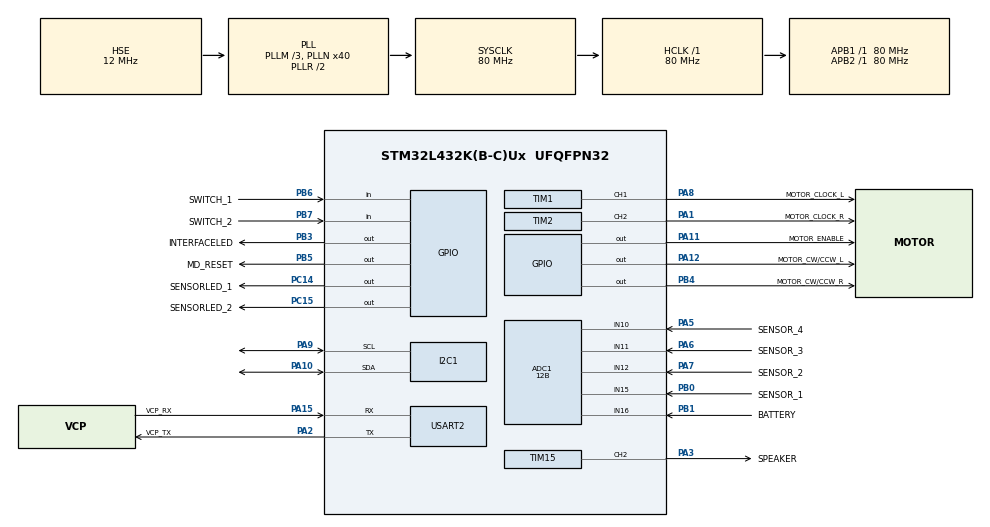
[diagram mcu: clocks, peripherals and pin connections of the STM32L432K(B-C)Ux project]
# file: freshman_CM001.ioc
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ADC1.Channel-1\#ChannelRegularConversion=ADC_CHANNEL_16
ADC1.Channel-6\#ChannelRegularConversion=ADC_CHANNEL_15
ADC1.Channel-7\#ChannelRegularConversion=ADC_CHANNEL_12
ADC1.Channel-8\#ChannelRegularConversion=ADC_CHANNEL_11
ADC1.Channel-9\#ChannelRegularConversion=ADC_CHANNEL_10
ADC1.ClockPrescaler=ADC_CLOCK_ASYNC_DIV4
ADC1.ContinuousConvMode=ENABLE
ADC1.NbrOfConversion=5
ADC1.NbrOfConversionFlag=1
ADC1.OffsetNumber-1\#ChannelRegularConversion=ADC_OFFSET_NONE
ADC1.OffsetNumber-6\#ChannelRegularConversion=ADC_OFFSET_NONE
ADC1.OffsetNumber-7\#ChannelRegularConversion=ADC_OFFSET_NONE
ADC1.OffsetNumber-8\#ChannelRegularConversion=ADC_OFFSET_NONE
ADC1.OffsetNumber-9\#ChannelRegularConversion=ADC_OFFSET_NONE
ADC1.Rank-1\#ChannelRegularConversion=1
ADC1.Rank-6\#ChannelRegularConversion=2
ADC1.Rank-7\#ChannelRegularConversion=3
ADC1.Rank-8\#ChannelRegularConversion=4
ADC1.Rank-9\#ChannelRegularConversion=5
ADC1.Resolution=ADC_RESOLUTION_12B
ADC1.SamplingTime-1\#ChannelRegularConversion=ADC_SAMPLETIME_12CYCLES_5
ADC1.SamplingTime-6\#ChannelRegularConversion=ADC_SAMPLETIME_12CYCLES_5
ADC1.SamplingTime-7\#ChannelRegularConversion=ADC_SAMPLETIME_12CYCLES_5
ADC1.SamplingTime-8\#ChannelRegularConversion=ADC_SAMPLETIME_12CYCLES_5
ADC1.SamplingTime-9\#ChannelRegularConversion=ADC_SAMPLETIME_12CYCLES_5
ADC1.master=1
Dma.ADC1.0.Direction=DMA_PERIPH_TO_MEMORY
Dma.ADC1.0.Instance=DMA1_Channel1
Dma.ADC1.0.MemDataAlignment=DMA_MDATAALIGN_HALFWORD
Dma.ADC1.0.MemInc=DMA_MINC_ENABLE
Dma.ADC1.0.Mode=DMA_NORMAL
Dma.ADC1.0.PeriphDataAlignment=DMA_PDATAALIGN_HALFWORD
Dma.ADC1.0.PeriphInc=DMA_PINC_DISABLE
Dma.ADC1.0.Priority=DMA_PRIORITY_LOW
Dma.Request0=ADC1
I2C1.Timing=0x10909CEC
Mcu.Family=STM32L4
Mcu.Name=STM32L432K(B-C)Ux
Mcu.Package=UFQFPN32
NVIC.ADC1_IRQn=true\:0\:0\:false\:false\:true\:true\:true\:true
NVIC.DMA1_Channel1_IRQn=true\:0\:0\:false\:false\:true\:false\:true\:true
NVIC.PriorityGroup=NVIC_PRIORITYGROUP_4
NVIC.TIM6_DAC_IRQn=true\:0\:0\:false\:false\:true\:true\:true\:true
PA0.GPIO_Label=MCO
PA0.Mode=HSE-External-Clock-Source-for-LittleOrca
PA0.Signal=RCC_CK_IN
PA1.GPIO_Label=MOTOR_CLOCK_R
PA1.Signal=S_TIM2_CH2
PA10.GPIO_Pu=GPIO_PULLUP
PA10.Mode=I2C
PA10.Signal=I2C1_SDA
PA11.GPIO_Label=MOTOR_ENABLE
PA11.Signal=GPIO_Output
PA12.GPIO_Label=MOTOR_CW/CCW_L
PA12.Signal=GPIO_Output
PA13\ (JTMS-SWDIO).GPIO_Label=SWDIO
PA13\ (JTMS-SWDIO).Mode=Serial_Wire
PA13\ (JTMS-SWDIO).Signal=SYS_JTMS-SWDIO
PA14\ (JTCK-SWCLK).GPIO_Label=SWCLK
PA14\ (JTCK-SWCLK).Mode=Serial_Wire
PA14\ (JTCK-SWCLK).Signal=SYS_JTCK-SWCLK
PA15\ (JTDI).GPIO_Label=VCP_RX
PA15\ (JTDI).Mode=Asynchronous
PA15\ (JTDI).Signal=USART2_RX
PA2.GPIO_Label=VCP_TX
PA2.Mode=Asynchronous
PA2.Signal=USART2_TX
PA3.GPIO_Label=SPEAKER
PA3.Signal=S_TIM15_CH2
PA5.GPIO_Label=SENSOR_4
PA5.Signal=ADCx_IN10
PA6.GPIO_Label=SENSOR_3
PA6.Signal=ADCx_IN11
PA7.GPIO_Label=SENSOR_2
PA7.Signal=ADCx_IN12
PA8.GPIO_Label=MOTOR_CLOCK_L
PA8.Signal=S_TIM1_CH1
PA9.GPIO_Pu=GPIO_PULLUP
PA9.Mode=I2C
PA9.Signal=I2C1_SCL
PB0.GPIO_Label=SENSOR_1
PB0.Signal=ADCx_IN15
PB1.GPIO_Label=BATTERY
PB1.Signal=ADCx_IN16
PB3\ (JTDO-TRACESWO).GPIO_Label=INTERFACELED
PB3\ (JTDO-TRACESWO).Signal=GPIO_Output
PB4\ (NJTRST).GPIO_Label=MOTOR_CW/CCW_R
PB4\ (NJTRST).Signal=GPIO_Output
PB5.GPIO_Label=MD_RESET
PB5.Signal=GPIO_Output
PB6.GPIO_Label=SWITCH_1
PB6.GPIO_PuPd=GPIO_PULLUP
PB6.Signal=GPIO_Input
PB7.GPIO_Label=SWITCH_2
PB7.GPIO_PuPd=GPIO_PULLUP
PB7.Signal=GPIO_Input
PC14-OSC32_IN\ (PC14).GPIO_Label=SENSORLED_1
PC14-OSC32_IN\ (PC14).Signal=GPIO_Output
PC15-OSC32_OUT\ (PC15).GPIO_Label=SENSORLED_2
PC15-OSC32_OUT\ (PC15).Signal=GPIO_Output
ProjectManager.HeapSize=0x200
ProjectManager.StackSize=0x400
ProjectManager.TargetToolchain=STM32CubeIDE
RCC.ADCFreq_Value=32000000
RCC.AHBFreq_Value=80000000
RCC.APB1Freq_Value=80000000
RCC.APB1TimFreq_Value=80000000
RCC.APB2Freq_Value=80000000
RCC.APB2TimFreq_Value=80000000
RCC.CortexFreq_Value=80000000
RCC.HCLKFreq_Value=80000000
RCC.HSE_VALUE=12000000
RCC.HSI16_VALUE=16000000
RCC.HSI48_VALUE=48000000
RCC.HSI_VALUE=16000000
RCC.LSE_VALUE=32768
RCC.MSI_VALUE=4000000
RCC.PLLM=3
RCC.PLLMUL=RCC_PLLMUL_4
RCC.PLLN=40
RCC.PLLSAI1N=16
RCC.PLLSourceVirtual=RCC_PLLSOURCE_HSE
RCC.SYSCLKFreq_VALUE=80000000
RCC.SYSCLKSource=RCC_SYSCLKSOURCE_PLLCLK
RCC.USBFreq_Value=32000000
RCC.VCOOutputFreq_Value=160000000
SH.ADCx_IN10.0=ADC1_IN10,IN10-Single-Ended
SH.ADCx_IN11.0=ADC1_IN11,IN11-Single-Ended
SH.ADCx_IN12.0=ADC1_IN12,IN12-Single-Ended
SH.ADCx_IN15.0=ADC1_IN15,IN15-Single-Ended
SH.ADCx_IN16.0=ADC1_IN16,IN16-Single-Ended
SH.S_TIM15_CH2.0=TIM15_CH2,PWM Generation2 CH2
SH.S_TIM1_CH1.0=TIM1_CH1,PWM Generation1 CH1
SH.S_TIM2_CH2.0=TIM2_CH2,PWM Generation2 CH2
TIM1.Channel-PWM\ Generation1\ CH1=TIM_CHANNEL_1
TIM1.Period=10000-1
TIM1.Prescaler=8-1
TIM1.Pulse-PWM\ Generation1\ CH1=5000-1
TIM15.Channel-PWM\ Generation2\ CH2=TIM_CHANNEL_2
TIM15.Period=5000-1
TIM15.Prescaler=80-1
TIM15.Pulse-PWM\ Generation2\ CH2=2500-1
TIM2.Channel-PWM\ Generation2\ CH2=TIM_CHANNEL_2
TIM2.Period=10000-1
TIM2.Prescaler=8-1
TIM2.Pulse-PWM\ Generation2\ CH2=5000-1
TIM6.AutoReloadPreload=TIM_AUTORELOAD_PRELOAD_ENABLE
TIM6.Period=1000-1
TIM6.Prescaler=80-1
USART2.VirtualMode-Asynchronous=VM_ASYNC
VP_TIM6_VS_ClockSourceINT.Mode=Enable_Timer
board=NUCLEO-L432KC

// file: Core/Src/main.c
/* USER CODE BEGIN Header */
/**
 ******************************************************************************
 * @file           : main.c
 * @brief          : Main program body
 ******************************************************************************
 * @attention
 *
 * Copyright (c) 2025 STMicroelectronics.
 * All rights reserved.
 *
 * This software is licensed under terms that can be found in the LICENSE file
 * in the root directory of this software component.
 * If no LICENSE file comes with this software, it is provided AS-IS.
 *
 ******************************************************************************
 */
/* USER CODE END Header */
#include "main.h"
#include "adc.h"
#include "dma.h"
#include "i2c.h"
#include "tim.h"
#include "usart.h"
#include "gpio.h"

/* USER CODE BEGIN Includes */
#include "PL_timer.h"
#include "PL_lcd.h"
#include "stdio.h"
#include "PL_sensor.h"
/* USER CODE END Includes */

void SystemClock_Config(void);

int main(void) {

	/* MCU Configuration--------------------------------------------------------*/

	/* Reset of all peripherals, Initializes the Flash interface and the Systick. */
	HAL_Init();

	/* Configure the system clock */
	SystemClock_Config();

	/* Initialize all configured peripherals */
	MX_GPIO_Init();
	MX_DMA_Init();
	MX_USART2_UART_Init();
	MX_TIM6_Init();
	MX_TIM15_Init();
	MX_I2C1_Init();
	MX_ADC1_Init();
	MX_TIM1_Init();
	MX_TIM2_Init();
	/* USER CODE BEGIN 2 */
	// HAL_TIM_Base_Start_IT(&htim15);
	// HAL_TIM_PWM_MspInit(&htim15);
	// HAL_TIM_PWM_Start(&htim15, TIM_CHANNEL_2);
	HAL_TIM_Base_Start_IT(&htim1);
	HAL_TIM_PWM_MspInit(&htim1);
	HAL_TIM_Base_Start_IT(&htim2);
	HAL_TIM_PWM_MspInit(&htim2);

	pl_timer_init();

	pl_lcd_init();
	pl_lcd_puts("Hello");
	pl_lcd_pos(1, 0);
	pl_lcd_puts("  STM32");
	HAL_Delay(500);
	pl_lcd_clear();
	pl_lcd_pos(0, 0);
	pl_lcd_puts("Mice");

	pl_lcd_clear();

	int cnt = 0;

//	float batf;
//	uint16_t bat;
//	char batBuffer[17] = { 0 };

	/* USER CODE END 2 */

	/* Infinite loop */
	/* USER CODE BEGIN WHILE */
	while (1) {
//	  HAL_GPIO_WritePin(INTERFACELED_GPIO_Port, INTERFACELED_Pin, GPIO_PIN_SET);
//	  wait_ms(500);
//	  HAL_GPIO_WritePin(INTERFACELED_GPIO_Port, INTERFACELED_Pin, GPIO_PIN_RESET);
//	  wait_ms(500);

//	  HAL_ADCEx_Calibration_Start(&hadc1, ADC_SINGLE_ENDED);
//	  HAL_ADC_Start(&hadc1);
//	  HAL_ADC_PollForConversion(&hadc1, 100);
//	  bat = HAL_ADC_GetValue(&hadc1);
//	  HAL_ADC_Stop(&hadc1);
//
//	  batf = 3.3 * (float)bat / (float)(4056 - 1) * (100.0 + 22.0) / 22.0;
//
//	  sprintf(batBuffer, "BAT:%f", batf);
//
//	  pl_lcd_pos(0,0);
//	  pl_lcd_puts(batBuffer);

//		HAL_ADC_Start_DMA(&hadc1, (uint32_t*) g_ADCBuffer,
//				sizeof(g_ADCBuffer) / sizeof(uint16_t));
//
//		sprintf(batBuffer, "%d", g_ADCBuffer[1]);
//
//		pl_lcd_pos(0, 0);
//		pl_lcd_puts(batBuffer);
//
		char strBuffer[17] = { 0 };
		sprintf(strBuffer, "CNT=%04d", cnt);
		cnt++;

		pl_lcd_pos(1, 0);
		pl_lcd_puts(strBuffer);

//		printf("OK: %d\n\r", cnt);
		printf("S1: %d, S2: %d, S3: %d, S4: %d\n\r", g_ADCBuffer[1], g_ADCBuffer[2], g_ADCBuffer[3], g_ADCBuffer[4]);

		if (HAL_GPIO_ReadPin(SWITCH_1_GPIO_Port, SWITCH_1_Pin) == 0) {

			HAL_GPIO_WritePin(INTERFACELED_GPIO_Port, INTERFACELED_Pin,
								GPIO_PIN_SET);

			HAL_GPIO_WritePin(MOTOR_ENABLE_GPIO_Port, MOTOR_ENABLE_Pin,
					GPIO_PIN_SET);
			HAL_GPIO_WritePin(MD_RESET_GPIO_Port, MD_RESET_Pin, GPIO_PIN_SET);
			HAL_Delay(3);
			HAL_GPIO_WritePin(MD_RESET_GPIO_Port, MD_RESET_Pin, GPIO_PIN_RESET);

			HAL_TIM_PWM_Start(&htim1, TIM_CHANNEL_1);
			HAL_TIM_PWM_Start(&htim2, TIM_CHANNEL_2);
			HAL_Delay(5000);

			HAL_TIM_PWM_Stop(&htim1, TIM_CHANNEL_1);
			HAL_TIM_PWM_Stop(&htim2, TIM_CHANNEL_2);

			HAL_GPIO_WritePin(MOTOR_ENABLE_GPIO_Port, MOTOR_ENABLE_Pin,
					GPIO_PIN_RESET);
			HAL_Delay(1000);
		}

		// HAL_Delay(1000);
		// HAL_TIM_PWM_Stop(&htim15, TIM_CHANNEL_2);
		/* USER CODE END WHILE */

	}
}

void SystemClock_Config(void) {
	RCC_OscInitTypeDef RCC_OscInitStruct = { 0 };
	RCC_ClkInitTypeDef RCC_ClkInitStruct = { 0 };

	/** Configure the main internal regulator output voltage
	 */
	if (HAL_PWREx_ControlVoltageScaling(PWR_REGULATOR_VOLTAGE_SCALE1)
			!= HAL_OK) {
		Error_Handler();
	}

	/** Initializes the RCC Oscillators according to the specified parameters
	 * in the RCC_OscInitTypeDef structure.
	 */
	RCC_OscInitStruct.OscillatorType = RCC_OSCILLATORTYPE_HSE;
	RCC_OscInitStruct.HSEState = RCC_HSE_BYPASS;
	RCC_OscInitStruct.PLL.PLLState = RCC_PLL_ON;
	RCC_OscInitStruct.PLL.PLLSource = RCC_PLLSOURCE_HSE;
	RCC_OscInitStruct.PLL.PLLM = 3;
	RCC_OscInitStruct.PLL.PLLN = 40;
	RCC_OscInitStruct.PLL.PLLP = RCC_PLLP_DIV7;
	RCC_OscInitStruct.PLL.PLLQ = RCC_PLLQ_DIV2;
	RCC_OscInitStruct.PLL.PLLR = RCC_PLLR_DIV2;
	if (HAL_RCC_OscConfig(&RCC_OscInitStruct) != HAL_OK) {
		Error_Handler();
	}

	/** Initializes the CPU, AHB and APB buses clocks
	 */
	RCC_ClkInitStruct.ClockType = RCC_CLOCKTYPE_HCLK | RCC_CLOCKTYPE_SYSCLK
			| RCC_CLOCKTYPE_PCLK1 | RCC_CLOCKTYPE_PCLK2;
	RCC_ClkInitStruct.SYSCLKSource = RCC_SYSCLKSOURCE_PLLCLK;
	RCC_ClkInitStruct.AHBCLKDivider = RCC_SYSCLK_DIV1;
	RCC_ClkInitStruct.APB1CLKDivider = RCC_HCLK_DIV1;
	RCC_ClkInitStruct.APB2CLKDivider = RCC_HCLK_DIV1;

	if (HAL_RCC_ClockConfig(&RCC_ClkInitStruct, FLASH_LATENCY_4) != HAL_OK) {
		Error_Handler();
	}
}

void Error_Handler(void) {
	__disable_irq();
	while (1) {
	}
}
